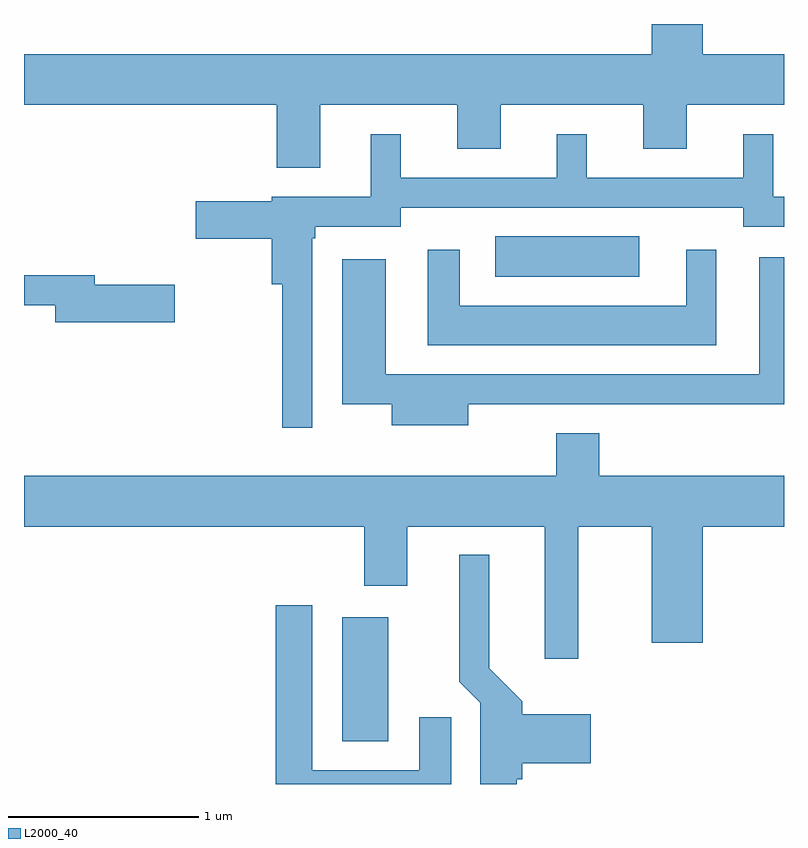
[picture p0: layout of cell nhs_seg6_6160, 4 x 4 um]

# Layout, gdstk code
import gdstk
lib = gdstk.Library(unit=1e-6, precision=1e-09)
def R(c, l, rs):  # rectangles x0, y0, x1, y1
    for r in rs: c.add(gdstk.rectangle(r[:2], r[2:], *l))
def P(c, l, *ps):  # polygons
    for p in ps: c.add(gdstk.Polygon(p, *l))
L2000_40 = (2000, 40)

nhs_seg6_6160 = lib.new_cell('nhs_seg6_6160')
R(nhs_seg6_6160, L2000_40, [(373.286,1624.386,373.529,1625.039), (374.091,1626.831,374.849,1627.044)])
P(nhs_seg6_6160, L2000_40, [(373.169,1627.736),(373.891,1627.736),(373.891,1627.506),(374.119,1627.506),(374.119,1627.736),(374.871,1627.736),(374.871,1627.506),(375.099,1627.506),(375.099,1627.736),(375.611,1627.736),(375.611,1628.004),(375.184,1628.004),(375.184,1628.162),(374.916,1628.162),(374.916,1628.004),(371.611,1628.004),(371.611,1627.736),(372.941,1627.736),(372.941,1627.406),(373.169,1627.406)],
  [(373.129,1627.035),(373.144,1627.035),(373.144,1627.096),(373.594,1627.096),(373.594,1627.196),(375.396,1627.196),(375.396,1627.096),(375.611,1627.096),(375.611,1627.254),(375.554,1627.254),(375.554,1627.583),(375.396,1627.583),(375.396,1627.354),(374.574,1627.354),(374.574,1627.583),(374.416,1627.583),(374.416,1627.354),(373.594,1627.354),(373.594,1627.583),(373.436,1627.583),(373.436,1627.254),(372.916,1627.254),(372.916,1627.229),(372.516,1627.229),(372.516,1627.031),(372.916,1627.031),(372.916,1626.791),(372.971,1626.791),(372.971,1626.038),(373.129,1626.038)],
  [(375.254,1626.973),(375.096,1626.973),(375.096,1626.679),(373.904,1626.679),(373.904,1626.973),(373.736,1626.973),(373.736,1626.471),(375.254,1626.471)],
  [(373.949,1626.161),(375.611,1626.161),(375.611,1626.934),(375.481,1626.934),(375.481,1626.319),(373.514,1626.319),(373.514,1626.924),(373.286,1626.924),(373.286,1626.161),(373.546,1626.161),(373.546,1626.051),(373.949,1626.051)],
  [(372.404,1626.789),(371.984,1626.789),(371.984,1626.839),(371.611,1626.839),(371.611,1626.681),(371.776,1626.681),(371.776,1626.591),(372.404,1626.591)],
  [(374.529,1625.516),(374.916,1625.516),(374.916,1624.906),(375.184,1624.906),(375.184,1625.516),(375.611,1625.516),(375.611,1625.784),(374.639,1625.784),(374.639,1626.009),(374.411,1626.009),(374.411,1625.784),(371.611,1625.784),(371.611,1625.516),(373.401,1625.516),(373.401,1625.206),(373.629,1625.206),(373.629,1625.516),(374.351,1625.516),(374.351,1624.821),(374.529,1624.821)],
  [(374.204,1624.186),(374.234,1624.186),(374.234,1624.271),(374.594,1624.271),(374.594,1624.529),(374.234,1624.529),(374.234,1624.597),(374.059,1624.772),(374.059,1625.368),(373.901,1625.368),(373.901,1624.699),(374.011,1624.589),(374.011,1624.162),(374.204,1624.162)],
  [(373.859,1624.513),(373.691,1624.513),(373.691,1624.234),(373.129,1624.234),(373.129,1625.104),(372.936,1625.104),(372.936,1624.162),(373.859,1624.162)])

lib.write_gds('nhs_seg6_6160.gds')
